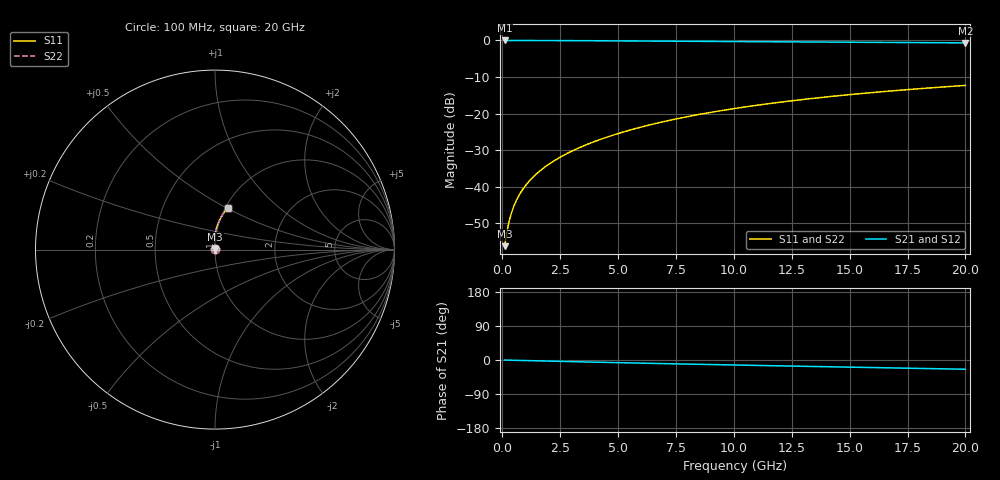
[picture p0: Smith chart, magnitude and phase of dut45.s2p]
! Touchstone file exported from HFSS 2024.1.0
!  File:  C:/UserFiles/LocalFiles/RDL_TSV_Batchsim/temp_RDL_top_45_1778681116.aedt
!  Generated:  10:07:23 PM May 13, 2026
!  Design:  RDL_top
!  Project:  temp_RDL_top_45_1778681116
!  Setup:  Setup1
!  Solution:  Sweep
! Variables:
!  dtsv = 10.80580581um
!  hbump = 3um
!  htsv = 62.92um
!  ldown = 100um
!  lrdl = 324.5um
!  p = 40
!  p1 = 56.4um
!  rhole = 1um
!  t = 450um
!  tdown = 3.915915916um
!  trdl = 4.84um
!  wdown = 15.38538539um
!  wrdl = 25.78um
# GHz S MA R 50.000000
! Terminal data exported
! Port[1] = Box2_T1
! Port[2] = Box2_T2
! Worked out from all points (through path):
!   200 points, 100 MHz to 20 GHz, reference 50 ohm
!   highest |S21| = -0.01 dB at 100 MHz (marker M1); lowest = -0.7 dB at 20 GHz (marker M2)
!   group delay of S21, straight-line fit = 3.34 ps
!   lowest |S11| = -56.2 dB at 100 MHz (marker M3), VSWR 1.00, Z = 50.1 + j0.11 ohm
!   |S11| at or under -10 dB: start of sweep to end of sweep
!   |S22| runs from -56.2 to -12.3 dB; largest |S21 - S12| = 4.3e-15
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0.1  0.001549 44.9  0.9989 -0.2  0.9989 -0.2  0.001549 44.9
! Gamma 0 0 0 0
! Port Impedance 50 0 50 0
0.2  0.002449 62.7  0.9988 -0.3  0.9988 -0.3  0.002449 62.7
0.3  0.003444 70.4  0.9987 -0.5  0.9987 -0.5  0.003444 70.4
0.4  0.004456 74.5  0.9986 -0.6  0.9986 -0.6  0.004455 74.4
0.5  0.005462 77.0  0.9985 -0.7  0.9985 -0.7  0.005462 77.0
0.7  0.007448 80.1  0.9983 -1.0  0.9983 -1.0  0.007446 80.1
0.8  0.008429 81.2  0.9982 -1.2  0.9982 -1.2  0.008427 81.2
1  0.01038 82.9  0.9979 -1.5  0.9979 -1.5  0.01038 82.9
1.4  0.0143 85.2  0.9973 -2.1  0.9973 -2.1  0.01429 85.2
1.7  0.01727 86.5  0.9967 -2.5  0.9967 -2.5  0.01727 86.5
2  0.02029 87.4  0.9961 -2.9  0.9961 -2.9  0.02028 87.4
2.7  0.02753 89.0  0.9942 -3.9  0.9942 -3.9  0.02753 89.0
3.5  0.03619 90.0  0.9916 -5.0  0.9916 -5.0  0.03619 90.0
4.2  0.04409 90.4  0.989 -6.0  0.989 -6.0  0.04409 90.4
5  0.05347 90.5  0.9858 -7.0  0.9858 -7.0  0.05346 90.5
6.8  0.07566 89.7  0.9784 -9.3  0.9784 -9.3  0.07566 89.7
8.4  0.09623 88.2  0.9717 -11.3  0.9717 -11.3  0.09622 88.2
10.1  0.1185 86.1  0.9649 -13.3  0.9649 -13.3  0.1184 86.1
11.7  0.1394 84.0  0.9585 -15.2  0.9585 -15.2  0.1394 84.0
13.4  0.1615 81.7  0.9519 -17.1  0.9519 -17.1  0.1614 81.7
16.7  0.2031 77.3  0.939 -20.8  0.939 -20.8  0.2031 77.3
20  0.2428 73.0  0.9258 -24.4  0.9258 -24.4  0.2428 73.0
